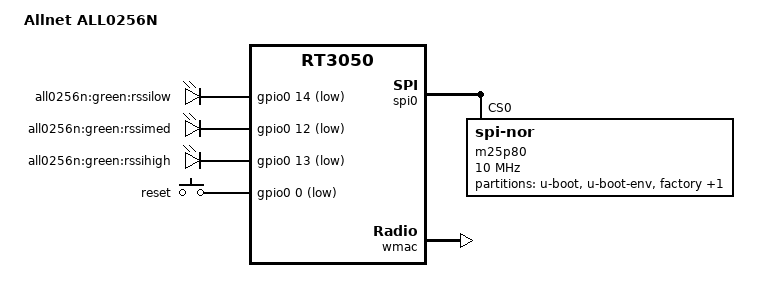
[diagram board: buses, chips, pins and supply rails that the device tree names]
/dts-v1/;

#include "rt3050.dtsi"

/ {
	compatible = "ALL0256N", "ralink,rt3050-soc";
	model = "Allnet ALL0256N";

	gpio-leds {
		compatible = "gpio-leds";

		rssilow {
			label = "all0256n:green:rssilow";
			gpios = <&gpio0 14 1>;
		};

		rssimed {
			label = "all0256n:green:rssimed";
			gpios = <&gpio0 12 1>;
		};

		rssihigh {
			label = "all0256n:green:rssihigh";
			gpios = <&gpio0 13 1>;
		};
	};

	gpio-keys-polled {
		compatible = "gpio-keys-polled";
		#address-cells = <1>;
		#size-cells = <0>;
		poll-interval = <20>;

		reset {
			label = "reset";
			gpios = <&gpio0 0 1>;
			linux,code = <0x198>;
		};
	};
};

&gpio0 {
	status = "okay";
};

&spi0 {
	status = "okay";

	m25p80@0 {
		#address-cells = <1>;
		#size-cells = <1>;
		compatible = "jedec,spi-nor";
		reg = <0>;
		linux,modalias = "m25p80", "mx25l3205d";
		spi-max-frequency = <10000000>;

		partition@0 {
			label = "u-boot";
			reg = <0x0 0x30000>;
			read-only;
		};

		partition@30000 {
			label = "u-boot-env";
			reg = <0x30000 0x10000>;
			read-only;
		};

		factory: partition@40000 {
			label = "factory";
			reg = <0x40000 0x10000>;
			read-only;
		};

		partition@50000 {
			label = "firmware";
			reg = <0x50000 0x7b0000>;
		};
	};
};

&pinctrl {
	state_default: pinctrl0 {
		gpio {
			ralink,group = "i2c", "jtag", "rgmii", "mdio", "uartf";
			ralink,function = "gpio";
		};
	};
};

&ethernet {
	mtd-mac-address = <&factory 0x28>;
};

&esw {
	mediatek,portmap = <0x3f>;
};

&wmac {
	ralink,mtd-eeprom = <&factory 0>;
};
